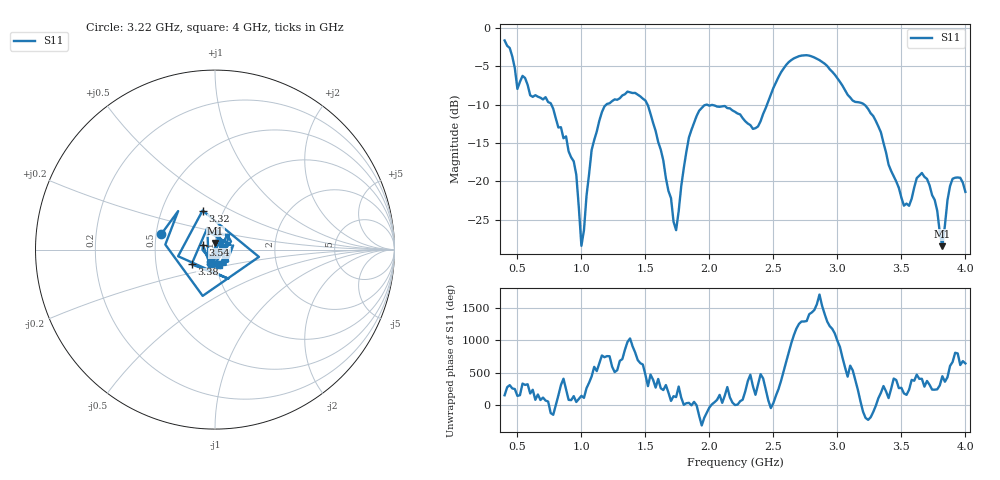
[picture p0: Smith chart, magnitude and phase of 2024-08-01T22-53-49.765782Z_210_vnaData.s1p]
!Created with skrf (http://scikit-rf.org).
# Hz S RI R 50.0
!freq ReS11 ImS11
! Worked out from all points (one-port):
!   181 points, 400 MHz to 4 GHz, reference 50 ohm
!   lowest |S11| = -28.5 dB at 3.82 GHz (marker M1), VSWR 1.08, Z = 50.1 + j3.78 ohm
!   |S11| at or under -10 dB: 1.517 GHz to 1.975 GHz (457.9 MHz wide, 26.2 % of centre); 1.983 GHz to 2.45 GHz (466.4 MHz wide, 21 % of centre); 3.211 GHz to end of sweep (the widest 3 of 4)
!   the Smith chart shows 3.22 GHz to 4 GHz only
!   S11 on the Smith chart (normalised r, x): 3.22 GHz: 0.53, +0.10; 3.32 GHz: 0.80, +0.37; 3.38 GHz: 0.76, -0.13; 3.54 GHz: 0.87, +0.05; 4 GHz: 1.03, -0.17
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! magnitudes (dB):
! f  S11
! 400 MHz  -1.6
! 500 MHz  -7.9
! 720 MHz  -9.0
! 860 MHz  -14.4
! 960 MHz  -19.1
! 1 GHz  -28.4
! 1.1 GHz  -14.6
! 1.18 GHz  -10.2
! 1.3 GHz  -9.2
! 1.5 GHz  -9.4
! 1.64 GHz  -17.3
! 1.72 GHz  -25.3
! 1.76 GHz  -23.9
! 1.84 GHz  -14.3
! 1.92 GHz  -10.8
! 2.2 GHz  -10.9
! 2.38 GHz  -12.8
! 2.66 GHz  -3.9
! 3.1 GHz  -9.1
! 3.22 GHz  -10.1
! 3.32 GHz  -12.8
! 3.38 GHz  -16.2
! 3.54 GHz  -22.9
! 3.56 GHz  -23.2
! 3.7 GHz  -19.7
! 3.82 GHz  -28.5
! 3.9 GHz  -19.7
! 4 GHz  -21.4
